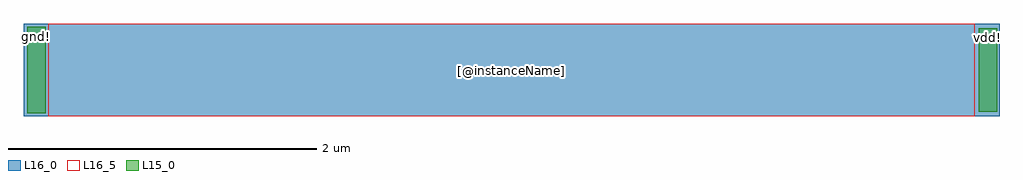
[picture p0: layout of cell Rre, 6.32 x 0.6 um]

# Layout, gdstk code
import gdstk
lib = gdstk.Library(unit=1e-6, precision=1e-09)
def R(c, l, rs):  # rectangles x0, y0, x1, y1
    for r in rs: c.add(gdstk.rectangle(r[:2], r[2:], *l))
L15_0 = (15, 0)
L16_0 = (16, 0)
L16_5 = (16, 5)

rre = lib.new_cell('Rre')
R(rre, L15_0, [(5.295,1.23,5.415,1.79), (11.455,1.24,11.575,1.78)])
R(rre, L16_0, [(5.27,1.21,5.43,1.81), (5.43,1.21,11.43,1.81), (11.43,1.21,11.59,1.81), (5.285,1.225,5.41,1.795), (11.445,1.225,11.57,1.785)])
R(rre, L16_5, [(5.43,1.21,11.43,1.81)])
rre.add(gdstk.Label('[@instanceName]', (8.43,1.51), layer=230, texttype=0))
rre.add(gdstk.Label('vdd!', (11.51,1.72), layer=16, texttype=3))
rre.add(gdstk.Label('gnd!', (5.355,1.73), layer=16, texttype=3))

lib.write_gds('Rre.gds')
